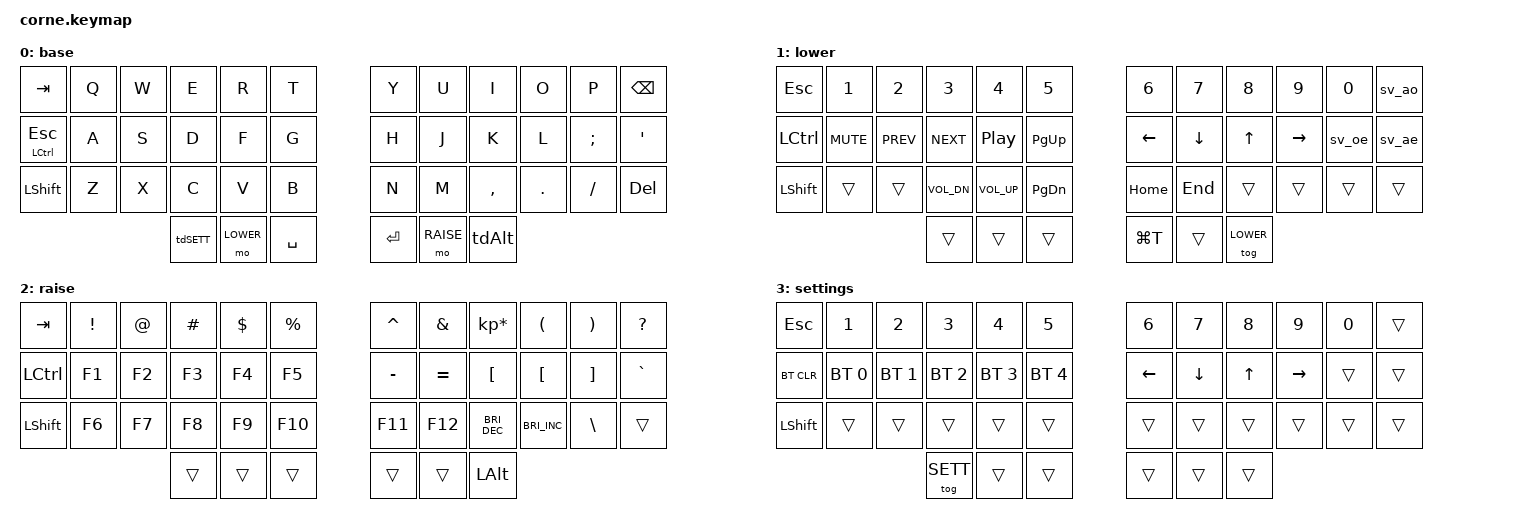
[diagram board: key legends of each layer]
/*
 * Copyright (c) 2020 The ZMK Contributors
 *
 * SPDX-License-Id   ifier: MIT
 */

#include <behaviors.dtsi>
#include <dt-bindings/zmk/keys.h>
#include <dt-bindings/zmk/bt.h>

/* Decides the unicode input mode
* 0 Windows - RALT
* 1 for Linux - LSHFT LCTRL U SPACE
* 2 MacOS - LALT
*/
#define HOST_OS 2
#include "helper.h"
#include "swedish.dtsi"

#define DEFAULT 0
#define LOWER 1
#define RAISE 2
#define SETT 3
/ {
    behaviors {
        tdAlt: tap_dance_Alt {
            compatible = "zmk,behavior-tap-dance";
            label = "TAP_DANCE_ALT";
            #binding-cells = <0>;
            tapping-term-ms = <200>;
            bindings
                = <&kp LALT>
                , <&tog LOWER>
                ;
        };
        tdSETT: tap_dance_SETT {
            compatible = "zmk,behavior-tap-dance";
            label = "TAP_DANCE_Settings";
            #binding-cells = <0>;
            tapping-term-ms = <200>;
            bindings
                = <&kp LGUI>
                , <&tog SETT>
                ;
        };
        tdC: tap_dance_C {
            compatible = "zmk,behavior-tap-dance";
            label = "TAP_DANCE_C";
            #binding-cells = <0>;
            tapping-term-ms = <150>;
            bindings
                = <&kp C>
                , <&kp C_AC_COPY>
                , <&kp C_AC_CUT>
                ;
        };
        tdV: tap_dance_V {
            compatible = "zmk,behavior-tap-dance";
            label = "TAP_DANCE_V";
            #binding-cells = <0>;
            tapping-term-ms = <150>;
            bindings
                = <&kp V>
                , <&kp C_AC_PASTE>
                ;
        };
    };
    macros {
        sv_ao_macro: sv_ao_macro {
            compatible = "zmk,behavior-macro";
            #binding-cells = <0>;
            bindings
                = <&macro_press &kp LALT>
                , <&macro_tap &kp N0 &kp N0 &kp E &kp N5>
                , <&macro_release &kp LALT>
                ;
        };
        sv_ae_macro: sv_ae_macro {
            compatible = "zmk,behavior-macro";
            #binding-cells = <0>;
            bindings
                = <&macro_press &kp LALT>
                , <&macro_tap &kp N0 &kp N0 &kp E &kp N4>
                , <&macro_release &kp LALT>
                ;
        };
        sv_oe_macro: sv_oe_macro {
            compatible = "zmk,behavior-macro";
            #binding-cells = <0>;
            bindings
                = <&macro_press &kp LALT>
                , <&macro_tap &kp N0 &kp N0 &kp F &kp N6>
                , <&macro_release &kp LALT>
                ;
        };
    };
    keymap {
        compatible = "zmk,keymap";
        default_layer {
          display-name = "base";
            // -----------------------------------------------------------------------------------------
            // | TAB      |  Q  |  W  |  E  |  R  |  T  |   |  Y  |  U   |  I  |  O  |  P  | BKSP |
            // | CTRL/ESC |  A  |  S  |  D  |  F  |  G  |   |  H  |  J   |  K  |  L  |  ;  |  '   |
            // | SHFT     |  Z  |  X  |  C  |  V  |  B  |   |  N  |  M   |  ,  |  .  |  /  | DEL  |
            //                     | CMD/SETT| LWR | SPC|   | RET | RSE  | Alt/LWR |
            bindings = <
                &kp TAB       &kp Q &kp W &kp E &kp R &kp T        &kp Y &kp U &kp I     &kp O   &kp P    &kp BKSP
                &mt LCTRL ESC &kp A &kp S &kp D &kp F &kp G        &kp H &kp J &kp K     &kp L   &kp SEMI &kp SQT
                &kp LSHFT     &kp Z &kp X &kp C  &kp V  &kp B        &kp N &kp M &kp COMMA &kp DOT &kp FSLH &kp DEL
                                &tdSETT &mo LOWER &kp SPACE        &kp RET &mo RAISE  &tdAlt
            >;
        };
        lower_layer {
          display-name = "lower";
            // -----------------------------------------------------------------------------------------
            // | ESC  |  1  |  2  |  3  |  4  |  5  |   |  6  |  7  |  8  |  9  |  0  |   Å  |
            // | CTRL | Mute| Prev| Next| Play| PGUP|   | LFT | DWN |  UP | RGT |  Ö  |   Ä  |
            // | SHFT |     |     | Vol-| Vol+| PGDN|   | Home| End |     |     |     |  DEL |
            //                    | GUI | LWR | SPC |   |     |     | tLWR|
            bindings = <
                &kp ESC   &kp N1     &kp N2     &kp N3       &kp N4       &kp N5              &kp N6   &kp N7   &kp N8 &kp N9    &kp N0  &sv_ao
                &kp LCTRL &kp C_MUTE &kp C_PREV &kp C_NEXT   &kp C_PP     &kp PG_UP           &kp LEFT &kp DOWN &kp UP &kp RIGHT &sv_oe  &sv_ae
                &kp LSHFT &trans     &trans     &kp C_VOL_DN &kp C_VOL_UP &kp PG_DN           &kp HOME &kp END  &trans &trans    &trans  &trans
                                                &trans       &trans       &trans              &kp LG(T)   &trans   &tog LOWER
            >;
        };
        raise_layer {
          display-name = "raise";
            // -----------------------------------------------------------------------------------------
            // |  TAB |  !  |  @  |  #  |  $  |  %  |   |  ^  |  &  |  *  |  (  |  )  |  ?   |
            // | CTRL |  F1 |  F2 |  F3 |  F4 |  F5 |   |  -  |  =  |     |  [  |  ]  |  `   |
            // | SHFT |  F6 |  F7 |  F8 |  F9 | F10 |   | F11 | F12 |     |     |  \  |  DEL |
            //                    |     |     |     |   |     |     | ALT |
            bindings = <
                &kp TAB   &kp EXCL &kp AT &kp HASH &kp DLLR &kp PRCNT        &kp CARET &kp AMPS  &kp KP_MULTIPLY &kp LPAR      &kp RPAR &kp QMARK
                &kp LCTRL &kp F1   &kp F2 &kp F3   &kp F4   &kp F5           &kp MINUS &kp EQUAL &kp LBKT        &kp LBKT      &kp RBKT &kp GRAVE
                &kp LSHFT &kp F6   &kp F7 &kp F8   &kp F9   &kp F10          &kp F11   &kp F12   &kp C_BRI_DEC   &kp C_BRI_INC &kp BSLH &trans
                                          &trans   &trans   &trans           &trans    &trans    &kp LALT
            >;
        };
        settings_layer {
          display-name = "settings";
            // -----------------------------------------------------------------------------------------
            // | ESC  |  1  |  2  |  3  |  4  |  5  |   |  6  |  7  |  8  |  9  |  0  |      |
            // | BTCLR| BT1 | BT2 | BT3 | BT4 | BT5 |   | LFT | DWN |  UP | RGT |     |      |
            // | SHFT |     |     |     |     |     |   |     |     |     |     |     |      |
            //                    |tSETT|     |     |   |     |     |     |
                bindings = <
                    &kp ESC    &kp N1       &kp N2       &kp N3       &kp N4       &kp N5               &kp N6   &kp N7   &kp N8 &kp N9    &kp N0 &trans
                    &bt BT_CLR &bt BT_SEL 0 &bt BT_SEL 1 &bt BT_SEL 2 &bt BT_SEL 3 &bt BT_SEL 4         &kp LEFT &kp DOWN &kp UP &kp RIGHT &trans &trans
                    &kp LSHFT  &trans       &trans       &trans       &trans       &trans               &trans   &trans   &trans &trans    &trans &trans
                                                         &tog SETT    &trans       &trans               &trans   &trans   &trans
                >;
        };
    };
};
